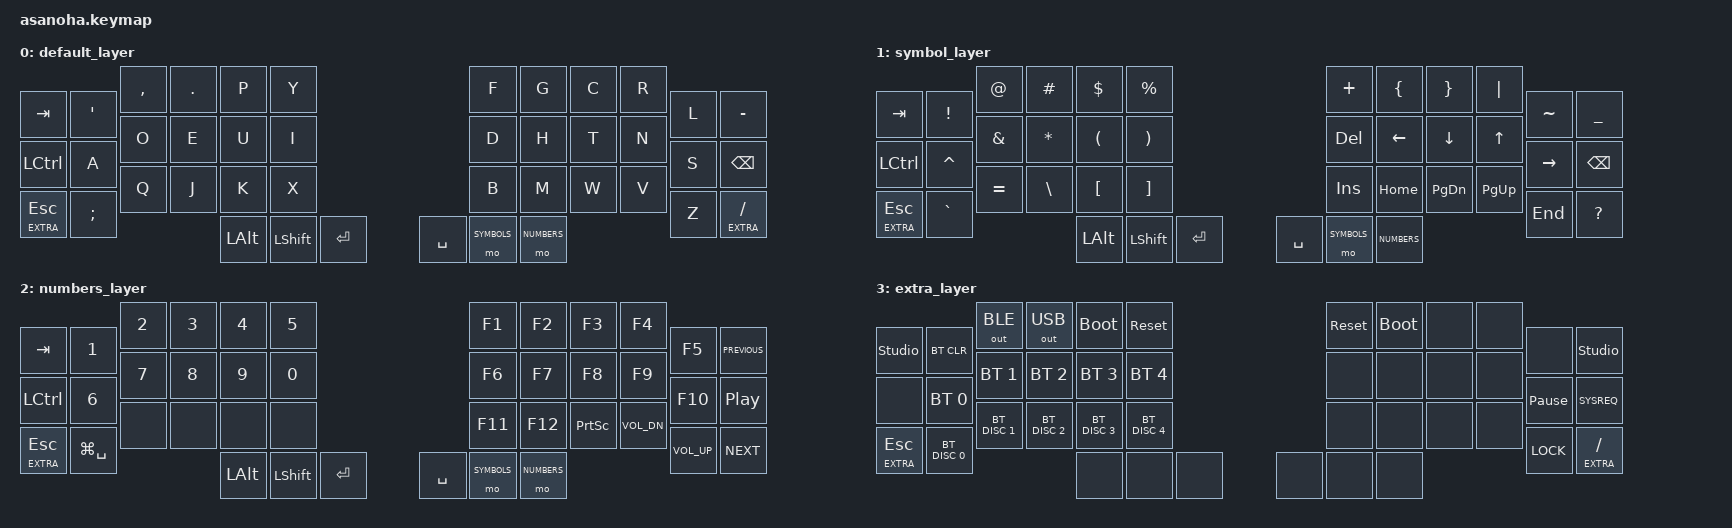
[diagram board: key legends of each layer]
/*
 * Copyright (c) 2022 The ZMK Contributors
 *
 * SPDX-License-Identifier: MIT
 */

#include <behaviors.dtsi>
#include <dt-bindings/zmk/keys.h>
#include <dt-bindings/zmk/bt.h>
#include <dt-bindings/zmk/outputs.h>

#define DEFAULT 0
#define SYMBOLS 1
#define NUMBERS 2
#define EXTRA   3


/ {

    keymap {
        compatible = "zmk,keymap";

        default_layer {
            bindings = <
                &kp TAB          &kp SINGLE_QUOTE    &kp COMMA    &kp PERIOD    &kp P         &kp Y                             &kp F        &kp G            &kp C             &kp R         &kp L            &kp MINUS
                &kp LCTRL        &kp A               &kp O        &kp E         &kp U         &kp I                             &kp D        &kp H            &kp T             &kp N         &kp S            &kp BACKSPACE
                &lt EXTRA ESC    &kp SEMICOLON       &kp Q        &kp J         &kp K         &kp X                             &kp B        &kp M            &kp W             &kp V         &kp Z            &lt EXTRA SLASH
                                                                  &kp LALT      &kp LSHIFT    &kp ENTER                         &kp SPACE    &mo SYMBOLS      &mo NUMBERS
            >;
        };

        symbol_layer {
            bindings = <
                &kp TAB          &kp EXCLAMATION  &kp AT         &kp HASH       &kp DOLLAR            &kp PERCENT               &kp PLUS         &kp LEFT_BRACE   &kp RIGHT_BRACE   &kp PIPE      &kp TILDE        &kp UNDERSCORE
                &kp LCTRL        &kp CARET        &kp AMPERSAND  &kp ASTERISK   &kp LEFT_PARENTHESIS  &kp RIGHT_PARENTHESIS     &kp DELETE       &kp LEFT_ARROW   &kp DOWN_ARROW    &kp UP_ARROW  &kp RIGHT_ARROW  &kp BACKSPACE
                &lt EXTRA ESC    &kp GRAVE        &kp EQUAL      &kp BACKSLASH  &kp LEFT_BRACKET      &kp RIGHT_BRACKET         &kp INSERT       &kp HOME         &kp PAGE_DOWN     &kp PAGE_UP   &kp END          &kp QUESTION
                                                                 &kp LALT       &kp LSHIFT            &kp ENTER                 &kp SPACE        &mo SYMBOLS      &kp NUMBERS
            >;
        };

        numbers_layer {
            bindings = <
                &kp TAB          &kp NUMBER_1   &kp NUMBER_2  &kp NUMBER_3       &kp NUMBER_4          &kp NUMBER_5              &kp F1       &kp F2       &kp F3           &kp F4           &kp F5        &kp C_PREVIOUS
                &kp LCTRL        &kp NUMBER_6   &kp NUMBER_7  &kp NUMBER_8       &kp NUMBER_9          &kp NUMBER_0              &kp F6       &kp F7       &kp F8           &kp F9           &kp F10       &kp C_PLAY_PAUSE
                &lt EXTRA ESC    &kp LG(SPACE)  &none         &none              &none                 &none                     &kp F11      &kp F12      &kp PRINTSCREEN  &kp C_VOL_DN     &kp C_VOL_UP  &kp C_NEXT
                                                              &kp LALT           &kp LSHIFT            &kp ENTER                 &kp SPACE    &mo SYMBOLS  &mo NUMBERS
            >;
        };

        extra_layer {
            bindings = <
                &studio_unlock   &bt BT_CLR     &out OUT_BLE   &out OUT_USB   &bootloader    &sys_reset                         &sys_reset     &bootloader  &none       &none       &none            &studio_unlock
                &none            &bt BT_SEL  0  &bt BT_SEL  1  &bt BT_SEL  2  &bt BT_SEL  3  &bt BT_SEL  4                      &none          &none        &none       &none       &kp PAUSE_BREAK  &kp SYSREQ
                &lt EXTRA ESC    &bt BT_DISC 0  &bt BT_DISC 1  &bt BT_DISC 2  &bt BT_DISC 3  &bt BT_DISC 4                      &none          &none        &none       &none       &kp K_LOCK       &lt EXTRA SLASH
                                                               &none          &none          &none                              &none          &none        &none
            >;
        };

    };
};

